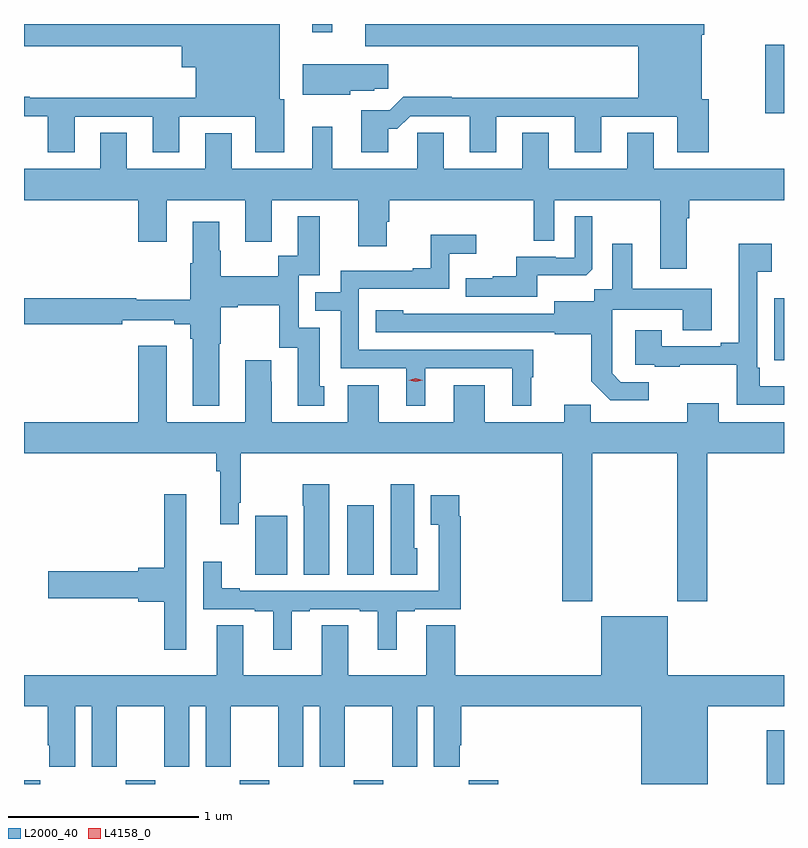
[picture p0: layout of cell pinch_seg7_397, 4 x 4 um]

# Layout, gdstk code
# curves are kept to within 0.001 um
import gdstk
lib = gdstk.Library(unit=1e-6, precision=1e-09)
def R(c, l, rs):  # rectangles x0, y0, x1, y1
    for r in rs: c.add(gdstk.rectangle(r[:2], r[2:], *l))
def A(c, l, x, y, w, h, nx, ny, dx, dy):  # array of equal rectangles
    R(c, l, [(x+i*dx, y+j*dy, x+i*dx+w, y+j*dy+h) for i in range(nx) for j in range(ny)])
def P(c, l, *ps):  # polygons
    for p in ps: c.add(gdstk.Polygon(p, *l))
L2000_40 = (2000, 40)
L4158_0 = (4158, 0)

pinch_seg7_397 = lib.new_cell('pinch_seg7_397')
A(pinch_seg7_397, L2000_40, 526.051, 1016.191, 0.155, 0.021, 3, 1, 0.6, 0)
R(pinch_seg7_397, L2000_40, [(525.515,1016.191,525.601,1016.212), (527.855,1016.191,528.011,1016.212), (529.425,1016.191,529.515,1016.473), (526.733,1017.292,526.9,1017.604), (527.216,1017.292,527.356,1017.658), (529.464,1018.421,529.515,1018.747), (529.417,1019.722,529.515,1020.082), (527.033,1020.147,527.137,1020.191)])
P(pinch_seg7_397, L2000_40, [(527.431,1019.639),(527.48,1019.639),(527.547,1019.706),(527.861,1019.706),(527.861,1019.517),(528.001,1019.517),(528.001,1019.703),(528.413,1019.703),(528.413,1019.517),(528.553,1019.517),(528.553,1019.703),(528.953,1019.703),(528.953,1019.517),(529.118,1019.517),(529.118,1019.796),(529.081,1019.796),(529.081,1020.134),(529.094,1020.134),(529.094,1020.191),(527.312,1020.191),(527.312,1020.074),(528.749,1020.074),(528.749,1019.804),(527.765,1019.804),(527.765,1019.807),(527.51,1019.807),(527.439,1019.736),(527.291,1019.736),(527.291,1019.517),(527.431,1019.517)],
  [(525.781,1019.703),(526.193,1019.703),(526.193,1019.517),(526.333,1019.517),(526.333,1019.703),(526.533,1019.703),(526.533,1019.702),(526.733,1019.702),(526.733,1019.517),(526.885,1019.517),(526.885,1019.796),(526.861,1019.796),(526.861,1020.191),(525.515,1020.191),(525.515,1020.074),(526.346,1020.074),(526.346,1019.963),(526.418,1019.963),(526.418,1019.804),(525.545,1019.804),(525.545,1019.807),(525.515,1019.807),(525.515,1019.706),(525.641,1019.706),(525.641,1019.517),(525.781,1019.517)],
  [(527.232,1019.84),(527.358,1019.84),(527.358,1019.851),(527.431,1019.851),(527.431,1019.98),(526.982,1019.98),(526.982,1019.819),(527.232,1019.819)],
  [(527.137,1019.65),(527.033,1019.65),(527.033,1019.428),(526.609,1019.428),(526.609,1019.617),(526.469,1019.617),(526.469,1019.428),(526.057,1019.428),(526.057,1019.618),(525.917,1019.618),(525.917,1019.428),(525.515,1019.428),(525.515,1019.264),(526.115,1019.264),(526.115,1019.046),(526.267,1019.046),(526.267,1019.264),(526.679,1019.264),(526.679,1019.046),(526.819,1019.046),(526.819,1019.264),(527.273,1019.264),(527.273,1019.022),(527.425,1019.022),(527.425,1019.151),(527.438,1019.151),(527.438,1019.264),(528.198,1019.264),(528.198,1019.05),(528.306,1019.05),(528.306,1019.264),(528.863,1019.264),(528.863,1018.902),(529.003,1018.902),(529.003,1019.168),(529.016,1019.168),(529.016,1019.264),(529.515,1019.264),(529.515,1019.428),(528.829,1019.428),(528.829,1019.618),(528.689,1019.618),(528.689,1019.428),(528.277,1019.428),(528.277,1019.618),(528.137,1019.618),(528.137,1019.428),(527.725,1019.428),(527.725,1019.618),(527.586,1019.618),(527.586,1019.428),(527.137,1019.428)],
  [(526.543,1018.507),(526.551,1018.507),(526.551,1018.7),(526.639,1018.7),(526.639,1018.712),(526.859,1018.712),(526.859,1018.488),(526.955,1018.488),(526.955,1018.182),(527.095,1018.182),(527.095,1018.284),(527.071,1018.284),(527.071,1018.593),(526.962,1018.593),(526.962,1018.869),(527.071,1018.869),(527.071,1019.179),(526.955,1019.179),(526.955,1018.97),(526.854,1018.97),(526.854,1018.864),(526.551,1018.864),(526.551,1018.998),(526.543,1018.998),(526.543,1019.149),(526.403,1019.149),(526.403,1018.931),(526.391,1018.931),(526.391,1018.741),(526.107,1018.741),(526.107,1018.748),(525.515,1018.748),(525.515,1018.612),(526.031,1018.612),(526.031,1018.631),(526.307,1018.631),(526.307,1018.612),(526.391,1018.612),(526.391,1018.535),(526.403,1018.535),(526.403,1018.181),(526.543,1018.181)],
  [(528.217,1018.868),(528.475,1018.868),(528.507,1018.899),(528.507,1019.179),(528.414,1019.179),(528.414,1018.962),(528.314,1018.962),(528.314,1018.965),(528.107,1018.965),(528.107,1018.864),(527.983,1018.864),(527.983,1018.852),(527.839,1018.852),(527.839,1018.755),(528.217,1018.755)],
  [(527.626,1018.38),(528.086,1018.38),(528.086,1018.181),(528.184,1018.181),(528.184,1018.332),(528.196,1018.332),(528.196,1018.476),(527.277,1018.476),(527.277,1018.797),(527.754,1018.797),(527.754,1018.982),(527.896,1018.982),(527.896,1019.081),(527.656,1019.081),(527.656,1018.906),(527.561,1018.906),(527.561,1018.893),(527.181,1018.893),(527.181,1018.779),(527.047,1018.779),(527.047,1018.683),(527.181,1018.683),(527.181,1018.38),(527.528,1018.38),(527.528,1018.181),(527.626,1018.181)],
  [(528.802,1018.305),(528.657,1018.305),(528.61,1018.352),(528.61,1018.447),(528.612,1018.447),(528.612,1018.688),(528.983,1018.688),(528.983,1018.579),(529.135,1018.579),(529.135,1018.798),(528.715,1018.798),(528.715,1019.035),(528.611,1019.035),(528.611,1018.796),(528.516,1018.796),(528.516,1018.732),(528.305,1018.732),(528.305,1018.665),(527.511,1018.666),(527.511,1018.684),(527.367,1018.684),(527.367,1018.569),(528.309,1018.569),(528.309,1018.557),(528.501,1018.557),(528.501,1018.311),(528.601,1018.211),(528.802,1018.211)],
  [(529.515,1018.285),(529.387,1018.285),(529.387,1018.381),(529.374,1018.381),(529.374,1018.886),(529.45,1018.886),(529.45,1019.035),(529.277,1019.035),(529.277,1018.513),(529.181,1018.513),(529.181,1018.494),(528.871,1018.494),(528.871,1018.579),(528.731,1018.579),(528.731,1018.398),(528.835,1018.398),(528.835,1018.386),(528.967,1018.386),(528.967,1018.397),(529.266,1018.397),(529.266,1018.188),(529.515,1018.188)],
  [(528.507,1017.932),(528.952,1017.932),(528.952,1017.153),(529.112,1017.153),(529.112,1017.932),(529.515,1017.932),(529.515,1018.096),(529.171,1018.096),(529.171,1018.195),(529.007,1018.195),(529.007,1018.096),(528.497,1018.096),(528.497,1018.187),(528.359,1018.187),(528.359,1018.096),(527.941,1018.096),(527.941,1018.291),(527.777,1018.291),(527.777,1018.096),(527.383,1018.096),(527.383,1018.291),(527.219,1018.291),(527.219,1018.096),(526.819,1018.096),(526.819,1018.307),(526.816,1018.307),(526.816,1018.42),(526.679,1018.42),(526.679,1018.096),(526.267,1018.096),(526.267,1018.498),(526.115,1018.498),(526.115,1018.096),(525.515,1018.096),(525.515,1017.932),(526.528,1017.932),(526.528,1017.836),(526.547,1017.836),(526.547,1017.558),(526.644,1017.558),(526.644,1017.67),(526.657,1017.67),(526.657,1017.932),(528.347,1017.932),(528.347,1017.153),(528.507,1017.153)],
  [(527.584,1017.432),(527.569,1017.432),(527.569,1017.769),(527.444,1017.769),(527.444,1017.292),(527.584,1017.292)],
  [(527.122,1017.769),(526.981,1017.769),(526.981,1017.656),(526.988,1017.656),(526.988,1017.292),(527.122,1017.292)],
  [(526.368,1017.412),(526.37,1017.412),(526.37,1017.715),(526.252,1017.715),(526.252,1017.329),(526.116,1017.329),(526.116,1017.311),(525.642,1017.311),(525.642,1017.169),(526.116,1017.169),(526.116,1017.151),(526.252,1017.151),(526.252,1016.898),(526.368,1016.898)],
  [(526.924,1017.099),(527.02,1017.099),(527.02,1017.111),(527.282,1017.111),(527.282,1017.099),(527.378,1017.099),(527.378,1016.898),(527.476,1016.898),(527.476,1017.099),(527.572,1017.099),(527.572,1017.111),(527.813,1017.111),(527.813,1017.599),(527.806,1017.599),(527.806,1017.712),(527.657,1017.712),(527.657,1017.556),(527.697,1017.556),(527.697,1017.207),(526.651,1017.207),(526.651,1017.22),(526.555,1017.22),(526.555,1017.361),(526.458,1017.361),(526.458,1017.111),(526.73,1017.111),(526.73,1017.099),(526.826,1017.099),(526.826,1016.898),(526.924,1016.898)],
  [(529.114,1016.6),(529.515,1016.6),(529.515,1016.764),(528.904,1016.764),(528.904,1017.073),(528.554,1017.073),(528.554,1016.764),(527.786,1016.764),(527.786,1017.026),(527.633,1017.026),(527.633,1016.764),(527.221,1016.764),(527.221,1017.026),(527.081,1017.026),(527.081,1016.764),(526.669,1016.764),(526.669,1017.026),(526.529,1017.026),(526.529,1016.764),(525.515,1016.764),(525.515,1016.6),(525.641,1016.6),(525.641,1016.395),(525.647,1016.395),(525.647,1016.283),(525.784,1016.283),(525.784,1016.6),(525.872,1016.6),(525.872,1016.283),(526.003,1016.283),(526.003,1016.6),(526.253,1016.6),(526.253,1016.283),(526.384,1016.283),(526.384,1016.6),(526.472,1016.6),(526.472,1016.283),(526.603,1016.283),(526.603,1016.6),(526.853,1016.6),(526.853,1016.283),(526.984,1016.283),(526.984,1016.6),(527.072,1016.6),(527.072,1016.283),(527.203,1016.283),(527.203,1016.6),(527.453,1016.6),(527.453,1016.283),(527.584,1016.283),(527.584,1016.6),(527.672,1016.6),(527.672,1016.283),(527.809,1016.283),(527.809,1016.395),(527.816,1016.395),(527.816,1016.6),(528.764,1016.6),(528.764,1016.191),(529.114,1016.191)])
P(pinch_seg7_397, L4158_0, [(527.577,1018.307),(527.541,1018.316),(527.541,1018.317),(527.541,1018.317),(527.577,1018.327),(527.613,1018.317),(527.613,1018.317),(527.613,1018.316)])

lib.write_gds('pinch_seg7_397.gds')
